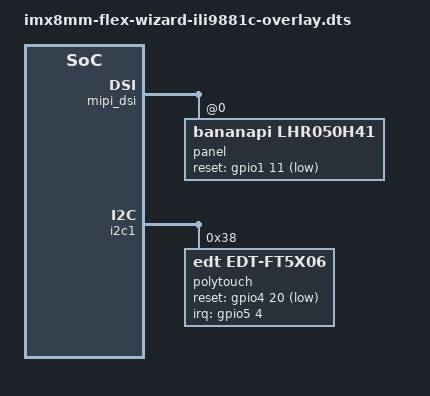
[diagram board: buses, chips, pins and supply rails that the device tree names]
// SPDX-License-Identifier: (GPL-2.0+ OR MIT)
/*
 * Copyright 2020 TechNexion Ltd.
 *
 * Author: Richard Hu <richard.hu@technexion.com>
 *         Ray Chang <ray.chang@technexion.com>
 *
 */

/dts-v1/;
/plugin/;

#include <dt-bindings/interrupt-controller/irq.h>
#include <dt-bindings/gpio/gpio.h>

/ {
	fragment@0 {
		target-path = "/";
		__overlay__ {
			backlight_mipi {
				status = "okay";
			};
		};
	};

	fragment@1 {
		target = <&mipi_dsi>;
		__overlay__ {
			status = "okay";
			#address-cells = <1>;
			#size-cells = <0>;

			panel@0 {
				compatible = "bananapi,lhr050h41", "ilitek,ili9881c";
				pinctrl-0 = <&pinctrl_mipi_dsi_rst>;
				reset-gpio = <&gpio1 11 GPIO_ACTIVE_LOW>;
				reg = <0>;
				timing-mode = <0>;
				video-mode = <2>;	/* 0: burst mode
							 * 1: non-burst mode with sync event
							 * 2: non-burst mode with sync pulse
							 */
				status = "okay";
			};
		};
	};

	fragment@2 {
		target = <&i2c1>;
		__overlay__ {
			#address-cells = <1>;
			#size-cells = <0>;
			status = "okay";

			polytouch: edt-ft5x06@38 {
				compatible = "edt,edt-ft5x06";
				reg = <0x38>;
				pinctrl-names = "default";
				pinctrl-0 = <&pinctrl_touch_irq &pinctrl_touch_rst>;
				interrupt-parent = <&gpio5>;
				interrupts = <4 IRQ_TYPE_EDGE_FALLING>;
				reset-gpios = <&gpio4 20 GPIO_ACTIVE_LOW>;
				touchscreen-size-x = <720>;
				touchscreen-size-y = <1280>;
				status = "okay";
			};
		};
	};
};
